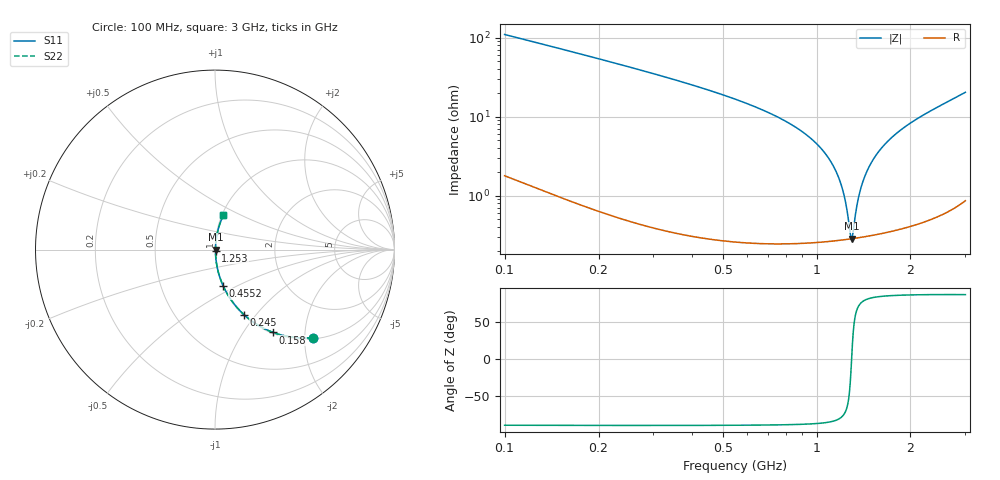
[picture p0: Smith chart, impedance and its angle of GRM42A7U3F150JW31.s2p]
!Murata Part Number: GRM42A7U3F150JW31
!These Parameters are Measured in Series Mode Connection
!Data Generated on Mar 30, 2021
!  o--ll--o
!Port1  Port2
!  o------o
!Operation Temp=25[degC], DC Bias Voltage=0[V]
!Freq. Start=100[MHz] Stop=3[GHz] 401[Steps]
# Hz S RI R 50
!Freq.(Hz) S11(Real) S11(Imag) S21(Real) S21(Imag) S12(Real) S12(Imag) S22(Real) S22(Imag)
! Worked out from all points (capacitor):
!   401 points, 100 MHz to 3 GHz, reference 50 ohm
!   read as one part in series: C = 14.4 pF near 114.5 MHz
!   lowest |Z| = 286 mohm at 1.296 GHz (marker M1)
!   series resonance near 1.295 GHz, so ESL is about 1 nH
!   S11 on the Smith chart (normalised r, x): 100 MHz: 1.04, -2.19; 158 MHz: 1.02, -1.38; 245 MHz: 1.01, -0.87; 455.2 MHz: 1.01, -0.43; 1.253 GHz: 1.01, -0.01; 3 GHz: 1.02, +0.41
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1e8  0.5436 -0.49  0.4564 0.49  0.4564 0.49  0.5436 -0.49
1.58e8  0.3234 -0.4614  0.6766 0.4614  0.6766 0.4614  0.3234 -0.4614
2.45e8  0.162 -0.3629  0.838 0.3629  0.838 0.3629  0.162 -0.3629
3.32e8  0.0911 -0.2822  0.9089 0.2822  0.9089 0.2822  0.0911 -0.2822
4.5525e8  0.0461 -0.2031  0.9539 0.2031  0.9539 0.2031  0.0461 -0.2031
5.8575e8  0.0247 -0.1469  0.9753 0.1469  0.9753 0.1469  0.0247 -0.1469
8.9025e8  0.00684 -0.0658  0.9932 0.0658  0.9932 0.0658  0.00684 -0.0658
1.0715e9  0.0037 -0.033  0.9963 0.033  0.9963 0.033  0.0037 -0.033
1.18025e9  0.00297 -0.0162  0.997 0.0162  0.997 0.0162  0.00297 -0.0162
1.22375e9  0.00286 -0.00988  0.9971 0.00988  0.9971 0.00988  0.00286 -0.00988
1.25275e9  0.00283 -0.0058  0.9972 0.0058  0.9972 0.0058  0.00283 -0.0058
1.28175e9  0.00283 -0.00181  0.9972 0.00181  0.9972 0.00181  0.00283 -0.00181
1.29625e9  0.00284 0.000155  0.9972 -0.000155  0.9972 -0.000155  0.00284 0.000155
1.31075e9  0.00287 0.0021  0.9971 -0.0021  0.9971 -0.0021  0.00287 0.0021
1.35425e9  0.00298 0.00783  0.997 -0.00783  0.997 -0.00783  0.00298 0.00783
1.39775e9  0.00316 0.0134  0.9968 -0.0134  0.9968 -0.0134  0.00316 0.0134
1.463e9  0.00353 0.0215  0.9965 -0.0215  0.9965 -0.0215  0.00353 0.0215
1.55e9  0.00423 0.032  0.9958 -0.032  0.9958 -0.032  0.00423 0.032
1.74575e9  0.00649 0.0542  0.9935 -0.0542  0.9935 -0.0542  0.00649 0.0542
2.03575e9  0.0115 0.0853  0.9885 -0.0853  0.9885 -0.0853  0.0115 0.0853
2.5215e9  0.0248 0.1366  0.9752 -0.1366  0.9752 -0.1366  0.0248 0.1366
3e9  0.0471 0.1916  0.9529 -0.1916  0.9529 -0.1916  0.0471 0.1916
